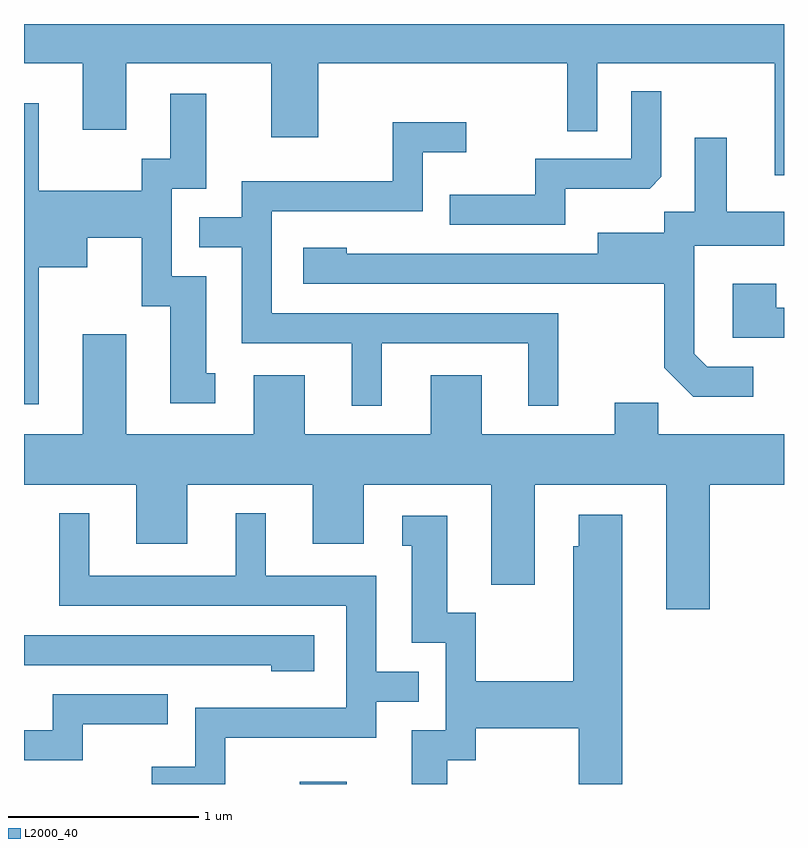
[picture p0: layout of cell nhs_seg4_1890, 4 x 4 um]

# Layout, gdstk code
import gdstk
lib = gdstk.Library(unit=1e-6, precision=1e-09)
def R(c, l, rs):  # rectangles x0, y0, x1, y1
    for r in rs: c.add(gdstk.rectangle(r[:2], r[2:], *l))
def P(c, l, *ps):  # polygons
    for p in ps: c.add(gdstk.Polygon(p, *l))
L2000_40 = (2000, 40)

nhs_seg4_1890 = lib.new_cell('nhs_seg4_1890')
R(nhs_seg4_1890, L2000_40, [(241.061,1361.982,241.309,1361.994)])
P(nhs_seg4_1890, L2000_40, [(239.611,1365.776),(239.921,1365.776),(239.921,1365.426),(240.149,1365.426),(240.149,1365.776),(240.911,1365.776),(240.911,1365.386),(241.159,1365.386),(241.159,1365.776),(242.471,1365.776),(242.471,1365.418),(242.629,1365.418),(242.629,1365.776),(243.561,1365.776),(243.561,1365.186),(243.611,1365.186),(243.611,1365.982),(239.611,1365.982)],
  [(242.459,1365.116),(242.904,1365.116),(242.964,1365.177),(242.964,1365.628),(242.806,1365.628),(242.806,1365.274),(242.301,1365.274),(242.301,1365.084),(241.853,1365.084),(241.853,1364.926),(242.459,1364.926)],
  [(239.689,1364.701),(239.944,1364.701),(239.944,1364.856),(240.231,1364.856),(240.231,1364.496),(240.381,1364.496),(240.381,1363.986),(240.618,1363.986),(240.618,1364.144),(240.569,1364.144),(240.569,1364.654),(240.389,1364.654),(240.389,1365.116),(240.569,1365.116),(240.569,1365.614),(240.381,1365.614),(240.381,1365.274),(240.231,1365.274),(240.231,1365.104),(239.689,1365.104),(239.689,1365.564),(239.611,1365.564),(239.611,1363.981),(239.689,1363.981)],
  [(241.494,1364.301),(242.266,1364.301),(242.266,1363.973),(242.424,1363.973),(242.424,1364.459),(240.914,1364.459),(240.914,1364.996),(241.709,1364.996),(241.709,1365.306),(241.938,1365.306),(241.938,1365.464),(241.551,1365.464),(241.551,1365.154),(240.756,1365.154),(240.756,1364.964),(240.533,1364.964),(240.533,1364.806),(240.756,1364.806),(240.756,1364.301),(241.336,1364.301),(241.336,1363.973),(241.494,1363.973)],
  [(243.448,1364.179),(243.207,1364.179),(243.139,1364.247),(243.139,1364.816),(243.611,1364.816),(243.611,1364.994),(243.309,1364.994),(243.309,1365.383),(243.141,1365.383),(243.141,1364.994),(242.981,1364.994),(242.981,1364.884),(242.631,1364.884),(242.631,1364.774),(241.309,1364.774),(241.309,1364.804),(241.081,1364.804),(241.081,1364.616),(242.981,1364.616),(242.981,1364.174),(243.134,1364.021),(243.448,1364.021)],
  [(243.611,1364.489),(243.569,1364.489),(243.569,1364.614),(243.341,1364.614),(243.341,1364.331),(243.611,1364.331)],
  [(243.219,1363.556),(243.611,1363.556),(243.611,1363.824),(242.949,1363.824),(242.949,1363.989),(242.721,1363.989),(242.721,1363.824),(242.019,1363.824),(242.019,1364.134),(241.751,1364.134),(241.751,1363.824),(241.089,1363.824),(241.089,1364.134),(240.821,1364.134),(240.821,1363.824),(240.149,1363.824),(240.149,1364.349),(239.921,1364.349),(239.921,1363.824),(239.611,1363.824),(239.611,1363.556),(240.201,1363.556),(240.201,1363.246),(240.469,1363.246),(240.469,1363.556),(241.131,1363.556),(241.131,1363.246),(241.399,1363.246),(241.399,1363.556),(242.071,1363.556),(242.071,1363.031),(242.299,1363.031),(242.299,1363.556),(242.991,1363.556),(242.991,1362.901),(243.219,1362.901)],
  [(240.669,1362.226),(241.464,1362.226),(241.464,1362.416),(241.688,1362.416),(241.688,1362.574),(241.464,1362.574),(241.464,1363.079),(240.884,1363.079),(240.884,1363.408),(240.726,1363.408),(240.726,1363.079),(239.954,1363.079),(239.954,1363.408),(239.796,1363.408),(239.796,1362.921),(241.306,1362.921),(241.306,1362.384),(240.511,1362.384),(240.511,1362.074),(240.283,1362.074),(240.283,1361.982),(240.669,1361.982)],
  [(241.839,1362.106),(241.989,1362.106),(241.989,1362.276),(242.531,1362.276),(242.531,1361.982),(242.759,1361.982),(242.759,1363.399),(242.531,1363.399),(242.531,1363.234),(242.501,1363.234),(242.501,1362.524),(241.989,1362.524),(241.989,1362.884),(241.839,1362.884),(241.839,1363.394),(241.603,1363.394),(241.603,1363.236),(241.651,1363.236),(241.651,1362.726),(241.831,1362.726),(241.831,1362.264),(241.651,1362.264),(241.651,1361.982),(241.839,1361.982)],
  [(241.139,1362.764),(239.611,1362.764),(239.611,1362.606),(240.911,1362.606),(240.911,1362.576),(241.139,1362.576)],
  [(239.919,1362.296),(240.368,1362.296),(240.368,1362.454),(239.761,1362.454),(239.761,1362.264),(239.611,1362.264),(239.611,1362.106),(239.919,1362.106)])

lib.write_gds('nhs_seg4_1890.gds')
